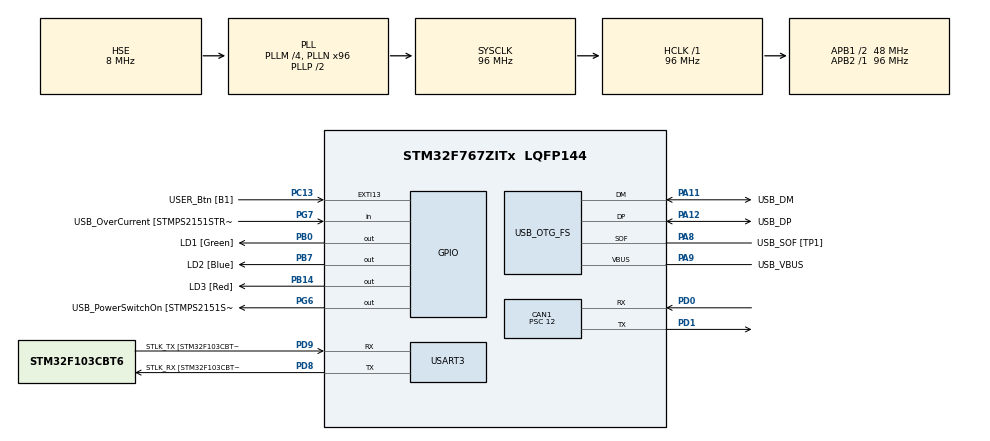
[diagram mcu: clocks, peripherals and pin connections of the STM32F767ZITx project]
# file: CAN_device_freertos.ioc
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CAN1.BS1=CAN_BS1_3TQ
CAN1.BS2=CAN_BS2_4TQ
CAN1.CalculateBaudRate=500000
CAN1.CalculateTimeBit=2000
CAN1.CalculateTimeQuantum=250.0
CAN1.Prescaler=12
CORTEX_M7.CPU_ICache=Enabled
FREERTOS.Events01=Cli_event,Dynamic,NULL
FREERTOS.INCLUDE_uxTaskPriorityGet=0
FREERTOS.INCLUDE_vTaskDelay=1
FREERTOS.INCLUDE_vTaskDelayUntil=0
FREERTOS.INCLUDE_vTaskPrioritySet=0
FREERTOS.INCLUDE_xTaskGetSchedulerState=0
FREERTOS.Mutexes01=uds_mutex,Dynamic,NULL;can_mutex,Dynamic,NULL;uart_mutex,Dynamic,NULL
FREERTOS.Queues01=pc_info_to_slcan_q,8,28,1,Dynamic,NULL,NULL;slcan_info_to_pc_q,8,30,1,Dynamic,NULL,NULL;can_info_to_pc_q,8,slcan_byte_packets_t,0,Dynamic,NULL,NULL
FREERTOS.Tasks01=defaultTask,47,128,StartDefaultTask,Default,NULL,Dynamic,NULL,NULL;pc_slcan,40,128,Task_CDC_process_pc_slcan,Default,NULL,Dynamic,NULL,NULL;can_info_to_pc,40,128,Task_CDC_process_slcan_pc,Default,NULL,Dynamic,NULL,NULL;Task_Cli,24,512,Task_CLi_process,Default,NULL,Dynamic,NULL,NULL;can_info_to_bus,40,128,Task_CDC_process_pc_bus,Default,NULL,Dynamic,NULL,NULL
FREERTOS.configUSE_NEWLIB_REENTRANT=1
Mcu.Family=STM32F7
Mcu.Name=STM32F767ZITx
Mcu.Package=LQFP144
NVIC.CAN1_RX0_IRQn=true\:5\:0\:false\:false\:true\:true\:true\:true\:true
NVIC.OTG_FS_IRQn=true\:5\:0\:false\:false\:true\:true\:true\:true\:true
NVIC.PriorityGroup=NVIC_PRIORITYGROUP_4
NVIC.USART3_IRQn=true\:5\:0\:false\:false\:true\:true\:true\:true\:true
PA10.GPIO_Label=USB_ID
PA10.Signal=USB_OTG_FS_ID
PA11.GPIO_Label=USB_DM
PA11.Mode=Device_Only
PA11.Signal=USB_OTG_FS_DM
PA12.GPIO_Label=USB_DP
PA12.Mode=Device_Only
PA12.Signal=USB_OTG_FS_DP
PA13.GPIO_Label=TMS
PA13.Mode=Serial_Wire
PA13.Signal=SYS_JTMS-SWDIO
PA14.GPIO_Label=TCK
PA14.Mode=Serial_Wire
PA14.Signal=SYS_JTCK-SWCLK
PA8.GPIO_Label=USB_SOF [TP1]
PA8.Mode=Activate_SOF_FS
PA8.Signal=USB_OTG_FS_SOF
PA9.GPIO_Label=USB_VBUS
PA9.Mode=Activate_VBUS
PA9.Signal=USB_OTG_FS_VBUS
PB0.GPIO_Label=LD1 [Green]
PB0.Signal=GPIO_Output
PB13.GPIO_Label=RMII_TXD1 [LAN8742A-CZ-TR_TXD1]
PB13.Signal=ETH_TXD1
PB14.GPIO_Label=LD3 [Red]
PB14.Signal=GPIO_Output
PB3.GPIO_Label=SWO
PB3.Signal=SYS_JTDO-SWO
PB7.GPIO_Label=LD2 [Blue]
PB7.Signal=GPIO_Output
PC13.GPIO_Label=USER_Btn [B1]
PC13.Signal=GPXTI13
PC14/OSC32_IN.Mode=LSE-External-Oscillator
PC14/OSC32_IN.Signal=RCC_OSC32_IN
PC15/OSC32_OUT.Mode=LSE-External-Oscillator
PC15/OSC32_OUT.Signal=RCC_OSC32_OUT
PD0.Mode=CAN_Activate
PD0.Signal=CAN1_RX
PD1.Mode=CAN_Activate
PD1.Signal=CAN1_TX
PD8.GPIO_Label=STLK_RX [STM32F103CBT6_PA3]
PD8.Mode=Asynchronous
PD8.Signal=USART3_TX
PD9.GPIO_Label=STLK_TX [STM32F103CBT6_PA2]
PD9.Mode=Asynchronous
PD9.Signal=USART3_RX
PG6.GPIO_Label=USB_PowerSwitchOn [STMPS2151STR_EN]
PG6.Signal=GPIO_Output
PG7.GPIO_Label=USB_OverCurrent [STMPS2151STR_FAULT]
PG7.Signal=GPIO_Input
PH0/OSC_IN.GPIO_Label=MCO [STM32F103CBT6_PA8]
PH0/OSC_IN.Mode=HSE-External-Clock-Source
PH0/OSC_IN.Signal=RCC_OSC_IN
PH1/OSC_OUT.Mode=HSE-External-Clock-Source
PH1/OSC_OUT.Signal=RCC_OSC_OUT
ProjectManager.HeapSize=0x200
ProjectManager.StackSize=0x400
ProjectManager.TargetToolchain=STM32CubeIDE
RCC.48MHZClocksFreq_Value=24000000
RCC.AHBFreq_Value=96000000
RCC.APB1CLKDivider=RCC_HCLK_DIV2
RCC.APB1Freq_Value=48000000
RCC.APB1TimFreq_Value=96000000
RCC.APB2Freq_Value=96000000
RCC.APB2TimFreq_Value=96000000
RCC.CortexFreq_Value=96000000
RCC.HCLKFreq_Value=96000000
RCC.HSE_VALUE=8000000
RCC.HSI_VALUE=16000000
RCC.PLLM=4
RCC.PLLMUL=RCC_PLL_MUL9
RCC.PLLN=96
RCC.PLLQ=4
RCC.PRESCALERUSB=RCC_USBCLKSOURCE_PLL_DIV1_5
RCC.SYSCLKFreq_VALUE=96000000
RCC.SYSCLKSource=RCC_SYSCLKSOURCE_PLLCLK
RCC.SYSCLKSourceVirtual=RCC_SYSCLKSOURCE_PLLCLK
RCC.USBFreq_Value=48000000
RCC.VCOOutputFreq_Value=192000000
USART3.VirtualMode-Asynchronous=VM_ASYNC
USB_DEVICE.APP_RX_DATA_SIZE-CDC_FS=64
USB_DEVICE.APP_TX_DATA_SIZE-CDC_FS=64
USB_DEVICE.CLASS_NAME_FS=CDC
USB_DEVICE.PID_CDC_FS=0x60c4
USB_DEVICE.VID-CDC_FS=0xad50
USB_DEVICE.VirtualMode-CDC_FS=Cdc
USB_DEVICE.VirtualModeFS=Cdc_FS
USB_OTG_FS.VirtualMode=Device_Only
VP_FREERTOS_VS_CMSIS_V2.Mode=CMSIS_V2
VP_USB_DEVICE_VS_USB_DEVICE_CDC_FS.Mode=CDC_FS
board=NUCLEO-F767ZI

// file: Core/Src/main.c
/* USER CODE BEGIN Header */
/**
  ******************************************************************************
  * @file           : main.c
  * @brief          : Main program body
  ******************************************************************************
  * @attention
  *
  * Copyright (c) 2023 STMicroelectronics.
  * All rights reserved.
  *
  * This software is licensed under terms that can be found in the LICENSE file
  * in the root directory of this software component.
  * If no LICENSE file comes with this software, it is provided AS-IS.
  *
  ******************************************************************************
  */
/* USER CODE END Header */
#include "main.h"
#include "cmsis_os.h"
#include "usb_device.h"

/* USER CODE BEGIN Includes */
#include "usbd_cdc_if.h"
#include "slcan.h"
#include "cli_setup.h"
/* USER CODE END Includes */

CAN_HandleTypeDef hcan1;

UART_HandleTypeDef huart3;

/* Definitions for defaultTask */
osThreadId_t defaultTaskHandle;
const osThreadAttr_t defaultTask_attributes = {
  .name = "defaultTask",
  .stack_size = 128 * 4,
  .priority = (osPriority_t) osPriorityHigh7,
};
/* Definitions for pc_slcan */
osThreadId_t pc_slcanHandle;
const osThreadAttr_t pc_slcan_attributes = {
  .name = "pc_slcan",
  .stack_size = 128 * 4,
  .priority = (osPriority_t) osPriorityHigh,
};
/* Definitions for can_info_to_pc */
osThreadId_t can_info_to_pcHandle;
const osThreadAttr_t can_info_to_pc_attributes = {
  .name = "can_info_to_pc",
  .stack_size = 128 * 4,
  .priority = (osPriority_t) osPriorityHigh,
};
/* Definitions for Task_Cli */
osThreadId_t Task_CliHandle;
const osThreadAttr_t Task_Cli_attributes = {
  .name = "Task_Cli",
  .stack_size = 512 * 4,
  .priority = (osPriority_t) osPriorityNormal,
};
/* Definitions for can_info_to_bus */
osThreadId_t can_info_to_busHandle;
const osThreadAttr_t can_info_to_bus_attributes = {
  .name = "can_info_to_bus",
  .stack_size = 128 * 4,
  .priority = (osPriority_t) osPriorityHigh,
};
/* Definitions for pc_info_to_slcan_q */
osMessageQueueId_t pc_info_to_slcan_qHandle;
const osMessageQueueAttr_t pc_info_to_slcan_q_attributes = {
  .name = "pc_info_to_slcan_q"
};
/* Definitions for slcan_info_to_pc_q */
osMessageQueueId_t slcan_info_to_pc_qHandle;
const osMessageQueueAttr_t slcan_info_to_pc_q_attributes = {
  .name = "slcan_info_to_pc_q"
};
/* Definitions for can_info_to_pc_q */
osMessageQueueId_t can_info_to_pc_qHandle;
const osMessageQueueAttr_t can_info_to_pc_q_attributes = {
  .name = "can_info_to_pc_q"
};
/* Definitions for uds_mutex */
osMutexId_t uds_mutexHandle;
const osMutexAttr_t uds_mutex_attributes = {
  .name = "uds_mutex"
};
/* Definitions for can_mutex */
osMutexId_t can_mutexHandle;
const osMutexAttr_t can_mutex_attributes = {
  .name = "can_mutex"
};
/* Definitions for uart_mutex */
osMutexId_t uart_mutexHandle;
const osMutexAttr_t uart_mutex_attributes = {
  .name = "uart_mutex"
};
/* Definitions for Cli_event */
osEventFlagsId_t Cli_eventHandle;
const osEventFlagsAttr_t Cli_event_attributes = {
  .name = "Cli_event"
};

void SystemClock_Config(void);
static void MX_GPIO_Init(void);
static void MX_USART3_UART_Init(void);
static void MX_CAN1_Init(void);
void StartDefaultTask(void *argument);
void Task_CDC_process_pc_slcan(void *argument);
void Task_CDC_process_slcan_pc(void *argument);
void Task_CLi_process(void *argument);
void Task_CDC_process_pc_bus(void *argument);

int main(void)
{

  /* Enable I-Cache---------------------------------------------------------*/
  SCB_EnableICache();

  /* MCU Configuration--------------------------------------------------------*/

  /* Reset of all peripherals, Initializes the Flash interface and the Systick. */
  HAL_Init();

  /* Configure the system clock */
  SystemClock_Config();

  /* Initialize all configured peripherals */
  MX_GPIO_Init();
  MX_USART3_UART_Init();
  MX_CAN1_Init();
  /* USER CODE BEGIN 2 */
  setupCli();
  /* USER CODE END 2 */

  /* Init scheduler */
  osKernelInitialize();
  /* Create the mutex(es) */
  /* creation of uds_mutex */
  uds_mutexHandle = osMutexNew(&uds_mutex_attributes);

  /* creation of can_mutex */
  can_mutexHandle = osMutexNew(&can_mutex_attributes);

  /* creation of uart_mutex */
  uart_mutexHandle = osMutexNew(&uart_mutex_attributes);

  /* Create the queue(s) */
  /* creation of pc_info_to_slcan_q */
  pc_info_to_slcan_qHandle = osMessageQueueNew (8, 28, &pc_info_to_slcan_q_attributes);

  /* creation of slcan_info_to_pc_q */
  slcan_info_to_pc_qHandle = osMessageQueueNew (8, 30, &slcan_info_to_pc_q_attributes);

  /* creation of can_info_to_pc_q */
  can_info_to_pc_qHandle = osMessageQueueNew (8, sizeof(slcan_byte_packets_t), &can_info_to_pc_q_attributes);

  /* Create the thread(s) */
  /* creation of defaultTask */
  defaultTaskHandle = osThreadNew(StartDefaultTask, NULL, &defaultTask_attributes);

  /* creation of pc_slcan */
  pc_slcanHandle = osThreadNew(Task_CDC_process_pc_slcan, NULL, &pc_slcan_attributes);

  /* creation of can_info_to_pc */
  can_info_to_pcHandle = osThreadNew(Task_CDC_process_slcan_pc, NULL, &can_info_to_pc_attributes);

  /* creation of Task_Cli */
  Task_CliHandle = osThreadNew(Task_CLi_process, NULL, &Task_Cli_attributes);

  /* creation of can_info_to_bus */
  can_info_to_busHandle = osThreadNew(Task_CDC_process_pc_bus, NULL, &can_info_to_bus_attributes);

  /* creation of Cli_event */
  Cli_eventHandle = osEventFlagsNew(&Cli_event_attributes);

  /* Start scheduler */
  osKernelStart();

  /* We should never get here as control is now taken by the scheduler */
  /* Infinite loop */
  while (1)
  {

  }
}

void SystemClock_Config(void)
{
  RCC_OscInitTypeDef RCC_OscInitStruct = {0};
  RCC_ClkInitTypeDef RCC_ClkInitStruct = {0};

  /** Configure LSE Drive Capability
  */
  HAL_PWR_EnableBkUpAccess();

  /** Configure the main internal regulator output voltage
  */
  __HAL_RCC_PWR_CLK_ENABLE();
  __HAL_PWR_VOLTAGESCALING_CONFIG(PWR_REGULATOR_VOLTAGE_SCALE3);

  /** Initializes the RCC Oscillators according to the specified parameters
  * in the RCC_OscInitTypeDef structure.
  */
  RCC_OscInitStruct.OscillatorType = RCC_OSCILLATORTYPE_HSE;
  RCC_OscInitStruct.HSEState = RCC_HSE_BYPASS;
  RCC_OscInitStruct.PLL.PLLState = RCC_PLL_ON;
  RCC_OscInitStruct.PLL.PLLSource = RCC_PLLSOURCE_HSE;
  RCC_OscInitStruct.PLL.PLLM = 4;
  RCC_OscInitStruct.PLL.PLLN = 96;
  RCC_OscInitStruct.PLL.PLLP = RCC_PLLP_DIV2;
  RCC_OscInitStruct.PLL.PLLQ = 4;
  RCC_OscInitStruct.PLL.PLLR = 2;
  if (HAL_RCC_OscConfig(&RCC_OscInitStruct) != HAL_OK)
  {
    Error_Handler();
  }

  /** Activate the Over-Drive mode
  */
  if (HAL_PWREx_EnableOverDrive() != HAL_OK)
  {
    Error_Handler();
  }

  /** Initializes the CPU, AHB and APB buses clocks
  */
  RCC_ClkInitStruct.ClockType = RCC_CLOCKTYPE_HCLK|RCC_CLOCKTYPE_SYSCLK
                              |RCC_CLOCKTYPE_PCLK1|RCC_CLOCKTYPE_PCLK2;
  RCC_ClkInitStruct.SYSCLKSource = RCC_SYSCLKSOURCE_PLLCLK;
  RCC_ClkInitStruct.AHBCLKDivider = RCC_SYSCLK_DIV1;
  RCC_ClkInitStruct.APB1CLKDivider = RCC_HCLK_DIV2;
  RCC_ClkInitStruct.APB2CLKDivider = RCC_HCLK_DIV1;

  if (HAL_RCC_ClockConfig(&RCC_ClkInitStruct, FLASH_LATENCY_3) != HAL_OK)
  {
    Error_Handler();
  }
}

static void MX_CAN1_Init(void)
{

  hcan1.Instance = CAN1;
  hcan1.Init.Prescaler = 12;
  hcan1.Init.Mode = CAN_MODE_NORMAL;
  hcan1.Init.SyncJumpWidth = CAN_SJW_1TQ;
  hcan1.Init.TimeSeg1 = CAN_BS1_3TQ;
  hcan1.Init.TimeSeg2 = CAN_BS2_4TQ;
  hcan1.Init.TimeTriggeredMode = DISABLE;
  hcan1.Init.AutoBusOff = DISABLE;
  hcan1.Init.AutoWakeUp = DISABLE;
  hcan1.Init.AutoRetransmission = DISABLE;
  hcan1.Init.ReceiveFifoLocked = DISABLE;
  hcan1.Init.TransmitFifoPriority = DISABLE;
  if (HAL_CAN_Init(&hcan1) != HAL_OK)
  {
    Error_Handler();
  }

}

static void MX_USART3_UART_Init(void)
{

  huart3.Instance = USART3;
  huart3.Init.BaudRate = 115200;
  huart3.Init.WordLength = UART_WORDLENGTH_8B;
  huart3.Init.StopBits = UART_STOPBITS_1;
  huart3.Init.Parity = UART_PARITY_NONE;
  huart3.Init.Mode = UART_MODE_TX_RX;
  huart3.Init.HwFlowCtl = UART_HWCONTROL_NONE;
  huart3.Init.OverSampling = UART_OVERSAMPLING_16;
  huart3.Init.OneBitSampling = UART_ONE_BIT_SAMPLE_DISABLE;
  huart3.AdvancedInit.AdvFeatureInit = UART_ADVFEATURE_NO_INIT;
  if (HAL_UART_Init(&huart3) != HAL_OK)
  {
    Error_Handler();
  }

}

static void MX_GPIO_Init(void)
{
  GPIO_InitTypeDef GPIO_InitStruct = {0};

  /* GPIO Ports Clock Enable */
  __HAL_RCC_GPIOC_CLK_ENABLE();
  __HAL_RCC_GPIOH_CLK_ENABLE();
  __HAL_RCC_GPIOB_CLK_ENABLE();
  __HAL_RCC_GPIOD_CLK_ENABLE();
  __HAL_RCC_GPIOG_CLK_ENABLE();
  __HAL_RCC_GPIOA_CLK_ENABLE();

  /*Configure GPIO pin Output Level */
  HAL_GPIO_WritePin(GPIOB, LD1_Pin|LD3_Pin|LD2_Pin, GPIO_PIN_RESET);

  /*Configure GPIO pin Output Level */
  HAL_GPIO_WritePin(USB_PowerSwitchOn_GPIO_Port, USB_PowerSwitchOn_Pin, GPIO_PIN_RESET);

  /*Configure GPIO pin : USER_Btn_Pin */
  GPIO_InitStruct.Pin = USER_Btn_Pin;
  GPIO_InitStruct.Mode = GPIO_MODE_IT_RISING;
  GPIO_InitStruct.Pull = GPIO_NOPULL;
  HAL_GPIO_Init(USER_Btn_GPIO_Port, &GPIO_InitStruct);

  /*Configure GPIO pins : LD1_Pin LD3_Pin LD2_Pin */
  GPIO_InitStruct.Pin = LD1_Pin|LD3_Pin|LD2_Pin;
  GPIO_InitStruct.Mode = GPIO_MODE_OUTPUT_PP;
  GPIO_InitStruct.Pull = GPIO_NOPULL;
  GPIO_InitStruct.Speed = GPIO_SPEED_FREQ_LOW;
  HAL_GPIO_Init(GPIOB, &GPIO_InitStruct);

  /*Configure GPIO pin : RMII_TXD1_Pin */
  GPIO_InitStruct.Pin = RMII_TXD1_Pin;
  GPIO_InitStruct.Mode = GPIO_MODE_AF_PP;
  GPIO_InitStruct.Pull = GPIO_NOPULL;
  GPIO_InitStruct.Speed = GPIO_SPEED_FREQ_VERY_HIGH;
  GPIO_InitStruct.Alternate = GPIO_AF11_ETH;
  HAL_GPIO_Init(RMII_TXD1_GPIO_Port, &GPIO_InitStruct);

  /*Configure GPIO pin : USB_PowerSwitchOn_Pin */
  GPIO_InitStruct.Pin = USB_PowerSwitchOn_Pin;
  GPIO_InitStruct.Mode = GPIO_MODE_OUTPUT_PP;
  GPIO_InitStruct.Pull = GPIO_NOPULL;
  GPIO_InitStruct.Speed = GPIO_SPEED_FREQ_LOW;
  HAL_GPIO_Init(USB_PowerSwitchOn_GPIO_Port, &GPIO_InitStruct);

  /*Configure GPIO pin : USB_OverCurrent_Pin */
  GPIO_InitStruct.Pin = USB_OverCurrent_Pin;
  GPIO_InitStruct.Mode = GPIO_MODE_INPUT;
  GPIO_InitStruct.Pull = GPIO_NOPULL;
  HAL_GPIO_Init(USB_OverCurrent_GPIO_Port, &GPIO_InitStruct);

}

void StartDefaultTask(void *argument)
{
  /* init code for USB_DEVICE */
  MX_USB_DEVICE_Init();
  /* USER CODE BEGIN 5 */
  osThreadTerminate( defaultTaskHandle );
  /* Infinite loop */
  for(;;)
  {
    osDelay(1);
  }
  /* USER CODE END 5 */
}

void Task_CDC_process_pc_slcan(void *argument)
{
  /* USER CODE BEGIN Task_CDC_process_pc_slcan */
    osStatus_t os_status;
    uint8_t pc_tx_info_data[28];
  /* Infinite loop */
  for(;;)
  {
      os_status = osMessageQueueGet( pc_info_to_slcan_qHandle, pc_tx_info_data, NULL, osWaitForever );
      if( osOK == os_status )
      {
          char cmd = pc_tx_info_data[0];
          (void)SLCAN_pc_cmd_process(cmd, &pc_tx_info_data[1]);;
      }
  }
  /* USER CODE END Task_CDC_process_pc_slcan */
}

void Task_CDC_process_slcan_pc(void *argument)
{
  /* USER CODE BEGIN Task_CDC_process_slcan_pc */
    osStatus_t os_status;
    slcan_str_info_packets_t slcan_tx_info_to_pc;
  /* Infinite loop */
  for(;;)
  {
      os_status = osMessageQueueGet( slcan_info_to_pc_qHandle, &slcan_tx_info_to_pc, NULL, osWaitForever );
      if( osOK == os_status )
      {
#ifdef USE_FREERTOS
        osMutexAcquire( uds_mutexHandle, osWaitForever );
#endif
          (void)CDC_Transmit_FS( slcan_tx_info_to_pc.slcan_str, slcan_tx_info_to_pc.str_len );
#ifdef USE_FREERTOS
        osMutexRelease( uds_mutexHandle );
#endif
      }
  }
  /* USER CODE END Task_CDC_process_slcan_pc */
}

void Task_CLi_process(void *argument)
{
  /* USER CODE BEGIN Task_CLi_process */
    EmbeddedCli *cli = getCliPointer();
  /* Infinite loop */
  for(;;)
  {
	if ( UART_EVENT_READY == osEventFlagsWait(Cli_eventHandle, UART_EVENT_READY, osFlagsWaitAll, osWaitForever))
	{
		embeddedCliProcess( cli  );
	}

  }
  /* USER CODE END Task_CLi_process */
}

void Task_CDC_process_pc_bus(void *argument)
{
  /* USER CODE BEGIN Task_CDC_process_pc_bus */
    slcan_byte_packets_t slcan_byte_packets;
    CAN_TxHeaderTypeDef CAN_TxHeader;
    uint32_t tx_mailbox;
    osStatus_t os_status;
  /* Infinite loop */
  for(;;)
  {
	os_status = osMessageQueueGet( can_info_to_pc_qHandle, &slcan_byte_packets, NULL, osWaitForever );
	if( osOK == os_status )
	{
		CAN_TxHeader = slcan_byte_packets.CAN_TxHeader;
#ifdef USE_FREERTOS
	  osMutexAcquire( can_mutexHandle, osWaitForever );
#endif
	  (void)HAL_CAN_AddTxMessage(&hcan1, &CAN_TxHeader, slcan_byte_packets.can_data, &tx_mailbox);
#ifdef USE_FREERTOS
	  osMutexRelease( can_mutexHandle );
#endif
      }
  }
  /* USER CODE END Task_CDC_process_pc_bus */
}

void Error_Handler(void)
{
  __disable_irq();
  while (1)
  {
  }
}
